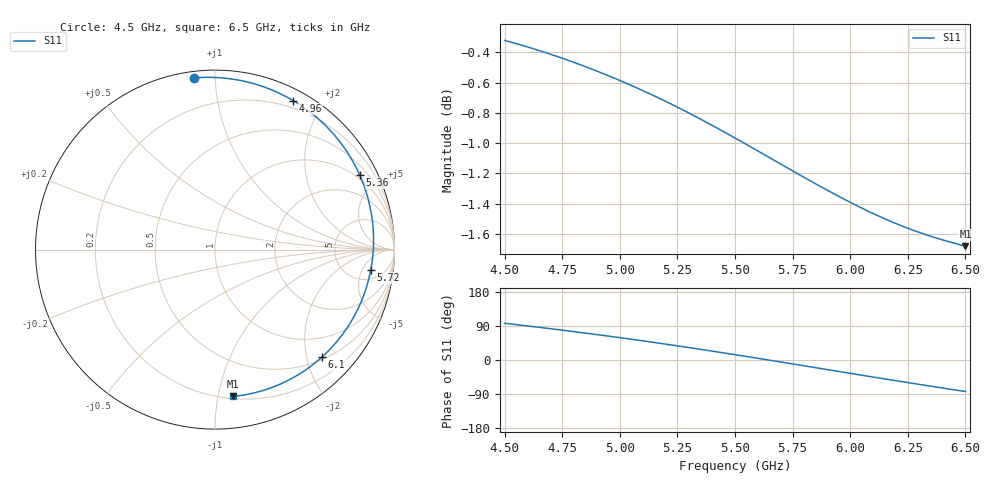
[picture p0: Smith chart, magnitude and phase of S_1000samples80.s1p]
! TOUCHSTONE file generated by CST MICROWAVE STUDIO
! Date and time: Wed Oct 26 22:20:09 2022
! Project name: L.cst
! Parameters = {Di=1.27; Epsilon_r=1.56; InnerDiameter=1.27; Length=2; Lf=10; Lg=60; OuterConductorThickness=0.2921; OuterDiameter=3.6; Wf=3; Wp=41.2; de=1.5; df=6.8; g=0.8; gx=3.35999; gy=4.49393; h=2.34; hf=1.524; px=9.69621; py=12.4375; w=9.7; wx=6.33622; wy=7.94354}
! Header version: 2018
! Port assignment regex: !\s*Touchstone port\s*([0-9]+)\s*=\s*(CST MWS port|CST DS port)\s*([0-9]+|Zmin|Zmax)\s*\(\"(.*)\"\)(\s*mode\s*([0-9]+))?.*
! Touchstone port assignment:
! Touchstone port 1 = CST MWS port 1 ("")
# GHz S DB R 50
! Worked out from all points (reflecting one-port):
!   101 points, 4.5 GHz to 6.5 GHz, reference 50 ohm
!   lowest |S11| = -1.7 dB at 6.5 GHz (marker M1), VSWR 10.37, Z = 10.8 - j55.2 ohm
!   phase of S11 starts at 97 deg and turns -180 deg over the sweep
!   S11 on the Smith chart (normalised r, x): 4.5 GHz: 0.03, +0.89; 4.96 GHz: 0.12, +1.65; 5.36 GHz: 0.84, +3.95; 5.72 GHz: 8, -7; 6.1 GHz: 0.55, -2.30; 6.5 GHz: 0.22, -1.10
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4.5  -0.32 96.9
4.58  -0.35 91.3
4.64  -0.38 86.9
4.76  -0.44 78.0
4.86  -0.50 70.2
4.96  -0.56 62.2
5  -0.59 58.9
5.12  -0.67 48.8
5.18  -0.71 43.5
5.26  -0.77 36.4
5.36  -0.85 27.3
5.44  -0.91 19.8
5.5  -0.97 14.1
5.56  -1.02 8.3
5.62  -1.07 2.4
5.72  -1.16 -7.4
5.76  -1.19 -11.3
5.82  -1.24 -17.3
5.88  -1.29 -23.3
5.94  -1.34 -29.2
6  -1.39 -35.2
6.1  -1.47 -45.0
6.18  -1.52 -52.9
6.26  -1.57 -60.6
6.32  -1.60 -66.3
6.38  -1.63 -71.9
6.44  -1.66 -77.6
6.5  -1.68 -83.1
